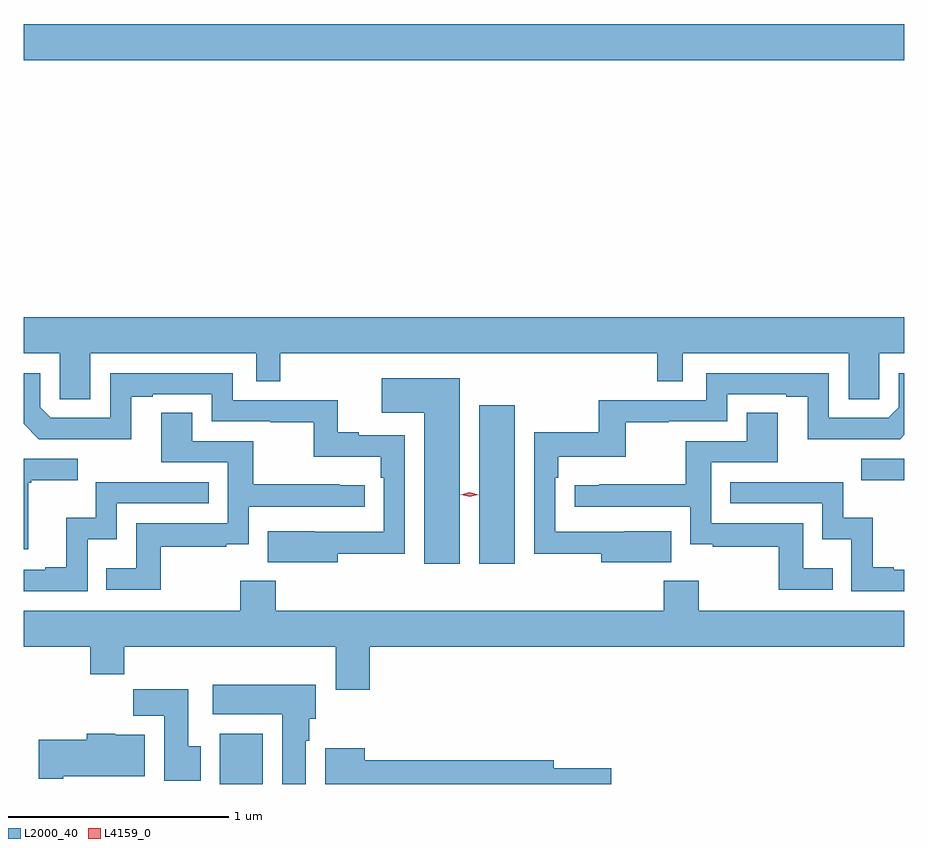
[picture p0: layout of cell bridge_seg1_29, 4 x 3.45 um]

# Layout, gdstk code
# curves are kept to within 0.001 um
import gdstk
lib = gdstk.Library(unit=1e-6, precision=1e-09)
def R(c, l, rs):  # rectangles x0, y0, x1, y1
    for r in rs: c.add(gdstk.rectangle(r[:2], r[2:], *l))
def P(c, l, *ps):  # polygons
    for p in ps: c.add(gdstk.Polygon(p, *l))
L2000_40 = (2000, 40)
L4159_0 = (4159, 0)

bridge_seg1_29 = lib.new_cell('bridge_seg1_29')
R(bridge_seg1_29, L2000_40, [(974.699,557.769,974.896,557.998), (975.878,558.768,976.039,559.489), (977.613,559.148,977.809,559.245), (973.809,561.056,977.809,561.22)])
P(bridge_seg1_29, L2000_40, [(974.113,559.724),(974.865,559.724),(974.865,559.597),(974.974,559.597),(974.974,559.724),(976.687,559.724),(976.687,559.597),(976.803,559.597),(976.803,559.724),(977.555,559.724),(977.555,559.516),(977.694,559.516),(977.694,559.724),(977.809,559.724),(977.809,559.888),(973.809,559.888),(973.809,559.724),(973.974,559.724),(973.974,559.516),(974.113,559.516)],
  [(976.751,558.916),(976.224,558.915),(976.224,559.16),(976.238,559.16),(976.238,559.256),(976.543,559.256),(976.543,559.411),(976.739,559.411),(976.739,559.416),(977.004,559.416),(977.004,559.539),(977.273,559.539),(977.273,559.527),(977.369,559.527),(977.369,559.334),(977.79,559.335),(977.809,559.354),(977.809,559.635),(977.784,559.635),(977.784,559.479),(977.736,559.431),(977.466,559.431),(977.466,559.635),(976.908,559.635),(976.908,559.512),(976.422,559.512),(976.422,559.366),(976.128,559.366),(976.128,558.814),(976.433,558.814),(976.433,558.776),(976.751,558.776)],
  [(975.235,558.814),(975.54,558.814),(975.54,559.353),(975.331,559.353),(975.331,559.366),(975.236,559.366),(975.236,559.512),(974.76,559.512),(974.76,559.635),(974.202,559.635),(974.202,559.431),(973.932,559.431),(973.884,559.479),(973.884,559.635),(973.809,559.635),(973.809,559.404),(973.878,559.335),(974.299,559.334),(974.299,559.527),(974.395,559.527),(974.395,559.539),(974.664,559.539),(974.664,559.416),(974.929,559.416),(974.929,559.411),(975.126,559.411),(975.126,559.256),(975.431,559.256),(975.431,559.16),(975.444,559.16),(975.444,558.915),(974.917,558.916),(974.917,558.776),(975.235,558.776)],
  [(975.79,559.612),(975.435,559.612),(975.435,559.454),(975.629,559.454),(975.629,558.768),(975.79,558.768)],
  [(977.483,558.748),(977.349,558.748),(977.349,558.954),(976.932,558.954),(976.932,559.23),(977.233,559.23),(977.233,559.454),(977.093,559.454),(977.093,559.326),(976.816,559.326),(976.816,559.13),(976.423,559.13),(976.423,559.125),(976.311,559.125),(976.311,559.029),(976.836,559.029),(976.836,558.857),(976.939,558.857),(976.939,558.846),(977.238,558.846),(977.238,558.651),(977.483,558.651)],
  [(974.431,558.846),(974.729,558.846),(974.729,558.857),(974.832,558.857),(974.832,559.029),(975.358,559.029),(975.358,559.125),(975.245,559.125),(975.245,559.13),(974.852,559.13),(974.852,559.326),(974.575,559.326),(974.575,559.454),(974.435,559.454),(974.435,559.23),(974.736,559.23),(974.736,558.954),(974.32,558.954),(974.32,558.748),(974.185,558.748),(974.185,558.651),(974.431,558.651)],
  [(973.831,559.137),(973.843,559.137),(973.843,559.148),(974.056,559.148),(974.056,559.245),(973.809,559.245),(973.809,558.834),(973.831,558.834)],
  [(974.1,558.881),(974.232,558.881),(974.232,559.044),(974.651,559.044),(974.651,559.14),(974.136,559.14),(974.136,558.979),(974.003,558.979),(974.003,558.754),(973.907,558.754),(973.907,558.741),(973.809,558.741),(973.809,558.645),(974.1,558.645)],
  [(977.809,558.741),(977.761,558.741),(977.761,558.754),(977.665,558.754),(977.665,558.979),(977.532,558.979),(977.532,559.14),(977.017,559.14),(977.017,559.044),(977.436,559.044),(977.436,558.881),(977.568,558.881),(977.568,558.645),(977.809,558.645)],
  [(976.715,558.691),(976.715,558.556),(974.954,558.556),(974.954,558.691),(974.794,558.691),(974.794,558.556),(973.809,558.556),(973.809,558.392),(974.111,558.392),(974.111,558.268),(974.267,558.268),(974.267,558.392),(975.227,558.392),(975.227,558.198),(975.38,558.198),(975.38,558.392),(977.809,558.392),(977.809,558.556),(976.875,558.556),(976.875,558.691)],
  [(975.091,557.966),(975.106,557.966),(975.106,558.066),(975.136,558.066),(975.136,558.22),(974.667,558.22),(974.667,558.086),(974.984,558.086),(974.984,557.769),(975.091,557.769)],
  [(974.614,557.94),(974.557,557.94),(974.557,558.199),(974.308,558.199),(974.308,558.08),(974.447,558.08),(974.447,557.784),(974.614,557.784)],
  [(973.99,557.804),(974.359,557.804),(974.359,557.992),(974.226,557.992),(974.226,557.998),(974.096,557.998),(974.096,557.97),(973.878,557.97),(973.878,557.792),(973.99,557.792)],
  [(976.477,557.84),(976.216,557.84),(976.216,557.876),(975.358,557.876),(975.358,557.932),(975.179,557.932),(975.179,557.769),(976.477,557.769)])
P(bridge_seg1_29, L4159_0, [(975.834,559.073),(975.794,559.083),(975.794,559.083),(975.794,559.083),(975.834,559.093),(975.874,559.083),(975.874,559.083),(975.874,559.083)])

lib.write_gds('bridge_seg1_29.gds')
